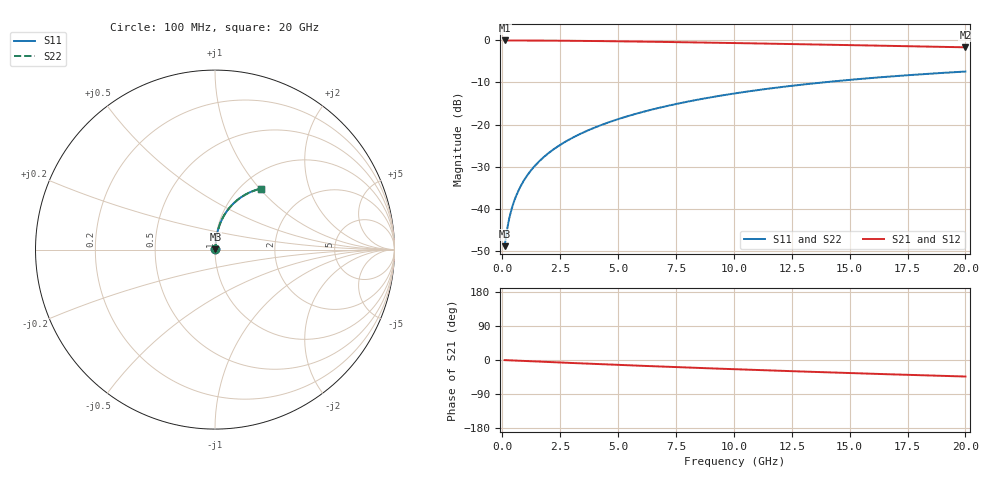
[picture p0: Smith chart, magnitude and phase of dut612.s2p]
! Touchstone file exported from HFSS 2024.1.0
!  File:  C:/UserFiles/LocalFiles/RDL_TSV_Batchsim/temp_RDL_top_612_1779779866.aedt
!  Generated:  03:19:55 PM May 26, 2026
!  Design:  RDL_top
!  Project:  temp_RDL_top_612_1779779866
!  Setup:  Setup1
!  Solution:  Sweep
! Variables:
!  dtsv = 10.80580581um
!  hbump = 3um
!  htsv = 99.31um
!  ldown = 100um
!  lrdl = 573.6um
!  p = 40
!  p1 = 59.02um
!  rhole = 1um
!  t = 450um
!  tdown = 3.915915916um
!  trdl = 4.02um
!  wdown = 15.38538539um
!  wrdl = 20.19um
# GHz S MA R 50.000000
! Terminal data exported
! Port[1] = Box2_T1
! Port[2] = Box2_T2
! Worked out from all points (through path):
!   200 points, 100 MHz to 20 GHz, reference 50 ohm
!   highest |S21| = -0.02 dB at 100 MHz (marker M1); lowest = -1.6 dB at 20 GHz (marker M2)
!   group delay of S21, straight-line fit = 6.02 ps
!   lowest |S11| = -48.9 dB at 100 MHz (marker M3), VSWR 1.01, Z = 50.3 + j0.245 ohm
!   |S11| at or under -10 dB: start of sweep to 13.82 GHz
!   |S22| runs from -48.9 to -7.4 dB; largest |S21 - S12| = 3e-15
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0.1  0.003607 42.5  0.9973 -0.3  0.9973 -0.3  0.003607 42.5
! Gamma 0 0 0 0
! Port Impedance 50 0 50 0
0.2  0.005561 60.0  0.9972 -0.5  0.9972 -0.5  0.005561 60.0
0.3  0.007707 67.7  0.997 -0.8  0.997 -0.8  0.007707 67.7
0.4  0.00989 72.0  0.9969 -1.1  0.9969 -1.1  0.00989 72.0
0.5  0.01209 74.8  0.9967 -1.3  0.9967 -1.3  0.01209 74.8
0.6  0.0143 76.7  0.9965 -1.6  0.9965 -1.6  0.0143 76.7
0.8  0.01874 79.3  0.9962 -2.1  0.9962 -2.1  0.01874 79.3
1.1  0.02548 81.3  0.9956 -2.9  0.9956 -2.9  0.02548 81.3
1.5  0.03454 82.6  0.9945 -4.0  0.9945 -4.0  0.03454 82.6
1.8  0.04138 83.1  0.9935 -4.8  0.9935 -4.8  0.04138 83.1
2.1  0.04825 83.3  0.9924 -5.5  0.9924 -5.5  0.04825 83.3
2.7  0.06209 83.3  0.9897 -7.1  0.9897 -7.1  0.06208 83.3
3.5  0.08071 82.8  0.9852 -9.1  0.9852 -9.1  0.0807 82.7
4.2  0.09715 82.0  0.9806 -10.9  0.9806 -10.9  0.09714 82.0
5  0.1161 81.0  0.9747 -12.8  0.9747 -12.8  0.1161 80.9
5.9  0.1375 79.6  0.9675 -15.0  0.9675 -15.0  0.1375 79.6
6.8  0.1589 78.1  0.9597 -17.1  0.9597 -17.1  0.1589 78.1
8.4  0.1967 75.1  0.945 -20.7  0.945 -20.7  0.1967 75.1
10.1  0.236 71.8  0.9285 -24.5  0.9285 -24.5  0.236 71.8
13.4  0.3077 65.3  0.895 -31.3  0.895 -31.3  0.3076 65.3
16.7  0.3715 58.9  0.8608 -37.7  0.8608 -37.7  0.3714 58.9
20  0.4266 52.9  0.827 -43.6  0.827 -43.6  0.4265 52.9
